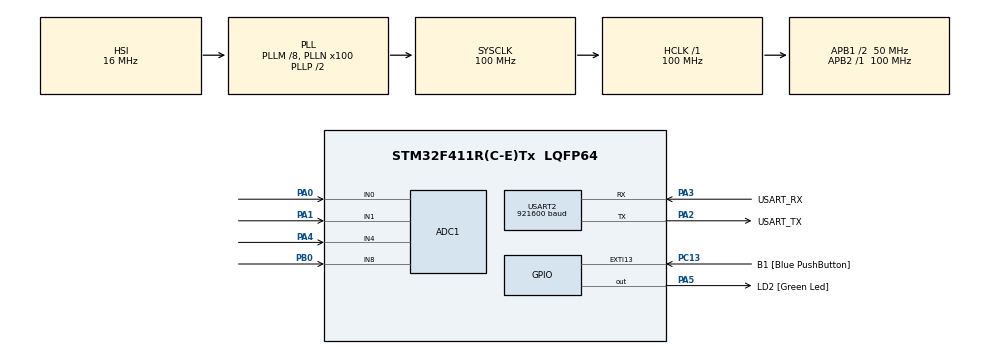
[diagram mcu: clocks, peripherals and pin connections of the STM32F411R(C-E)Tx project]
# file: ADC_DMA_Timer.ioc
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ADC1.Channel-1\#ChannelRegularConversion=ADC_CHANNEL_0
ADC1.Channel-4\#ChannelRegularConversion=ADC_CHANNEL_1
ADC1.Channel-6\#ChannelRegularConversion=ADC_CHANNEL_4
ADC1.Channel-7\#ChannelRegularConversion=ADC_CHANNEL_8
ADC1.ContinuousConvMode=DISABLE
ADC1.DMAContinuousRequests=ENABLE
ADC1.DiscontinuousConvMode=DISABLE
ADC1.EOCSelection=ADC_EOC_SEQ_CONV
ADC1.ExternalTrigConv=ADC_EXTERNALTRIGCONV_T2_TRGO
ADC1.NbrOfConversion=4
ADC1.NbrOfConversionFlag=1
ADC1.Rank-1\#ChannelRegularConversion=1
ADC1.Rank-4\#ChannelRegularConversion=2
ADC1.Rank-6\#ChannelRegularConversion=3
ADC1.Rank-7\#ChannelRegularConversion=4
ADC1.SamplingTime-1\#ChannelRegularConversion=ADC_SAMPLETIME_28CYCLES
ADC1.SamplingTime-4\#ChannelRegularConversion=ADC_SAMPLETIME_28CYCLES
ADC1.SamplingTime-6\#ChannelRegularConversion=ADC_SAMPLETIME_28CYCLES
ADC1.SamplingTime-7\#ChannelRegularConversion=ADC_SAMPLETIME_28CYCLES
ADC1.ScanConvMode=ENABLE
ADC1.master=1
Dma.ADC1.0.Direction=DMA_PERIPH_TO_MEMORY
Dma.ADC1.0.FIFOMode=DMA_FIFOMODE_DISABLE
Dma.ADC1.0.Instance=DMA2_Stream0
Dma.ADC1.0.MemDataAlignment=DMA_MDATAALIGN_HALFWORD
Dma.ADC1.0.MemInc=DMA_MINC_ENABLE
Dma.ADC1.0.Mode=DMA_CIRCULAR
Dma.ADC1.0.PeriphDataAlignment=DMA_PDATAALIGN_HALFWORD
Dma.ADC1.0.PeriphInc=DMA_PINC_DISABLE
Dma.ADC1.0.Priority=DMA_PRIORITY_VERY_HIGH
Dma.Request0=ADC1
Mcu.Family=STM32F4
Mcu.Name=STM32F411R(C-E)Tx
Mcu.Package=LQFP64
NVIC.DMA2_Stream0_IRQn=true\:0\:0\:false\:false\:true\:false\:true\:true
NVIC.PriorityGroup=NVIC_PRIORITYGROUP_0
PA0-WKUP.Signal=ADCx_IN0
PA1.Signal=ADCx_IN1
PA13.GPIO_Label=TMS
PA13.Mode=Serial_Wire
PA13.Signal=SYS_JTMS-SWDIO
PA14.GPIO_Label=TCK
PA14.Mode=Serial_Wire
PA14.Signal=SYS_JTCK-SWCLK
PA2.GPIO_Label=USART_TX
PA2.Mode=Asynchronous
PA2.Signal=USART2_TX
PA3.GPIO_Label=USART_RX
PA3.Mode=Asynchronous
PA3.Signal=USART2_RX
PA4.Signal=ADCx_IN4
PA5.GPIO_Label=LD2 [Green Led]
PA5.Signal=GPIO_Output
PB0.Signal=ADCx_IN8
PB3.GPIO_Label=SWO
PB3.Signal=SYS_JTDO-SWO
PC13-ANTI_TAMP.GPIO_Label=B1 [Blue PushButton]
PC13-ANTI_TAMP.GPIO_ModeDefaultEXTI=GPIO_MODE_IT_FALLING
PC13-ANTI_TAMP.Signal=GPXTI13
PC14-OSC32_IN.Mode=LSE-External-Oscillator
PC14-OSC32_IN.Signal=RCC_OSC32_IN
PC15-OSC32_OUT.Mode=LSE-External-Oscillator
PC15-OSC32_OUT.Signal=RCC_OSC32_OUT
PH0\ -\ OSC_IN.Mode=HSE-External-Clock-Source
PH0\ -\ OSC_IN.Signal=RCC_OSC_IN
PH1\ -\ OSC_OUT.Mode=HSE-External-Clock-Source
PH1\ -\ OSC_OUT.Signal=RCC_OSC_OUT
ProjectManager.HeapSize=0x200
ProjectManager.StackSize=0x400
ProjectManager.TargetToolchain=STM32CubeIDE
RCC.48MHZClocksFreq_Value=50000000
RCC.AHBFreq_Value=100000000
RCC.APB1CLKDivider=RCC_HCLK_DIV2
RCC.APB1Freq_Value=50000000
RCC.APB1TimFreq_Value=100000000
RCC.APB2Freq_Value=100000000
RCC.APB2TimFreq_Value=100000000
RCC.CortexFreq_Value=100000000
RCC.FLatency-AdvancedSettings=FLASH_LATENCY_3
RCC.HCLKFreq_Value=100000000
RCC.HSE_VALUE=8000000
RCC.HSI_VALUE=16000000
RCC.PLLM=8
RCC.PLLN=100
RCC.SYSCLKFreq_VALUE=100000000
RCC.SYSCLKSource=RCC_SYSCLKSOURCE_PLLCLK
RCC.VCOOutputFreq_Value=200000000
SH.ADCx_IN0.0=ADC1_IN0,IN0
SH.ADCx_IN1.0=ADC1_IN1,IN1
SH.ADCx_IN4.0=ADC1_IN4,IN4
SH.ADCx_IN8.0=ADC1_IN8,IN8
TIM2.Period=781-1
TIM2.TIM_MasterOutputTrigger=TIM_TRGO_UPDATE
USART2.BaudRate=921600
USART2.VirtualMode=VM_ASYNC
VP_TIM2_VS_ClockSourceINT.Mode=Internal
board=NUCLEO-F411RE

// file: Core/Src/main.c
/* USER CODE BEGIN Header */
/**
  ******************************************************************************
  * @file           : main.c
  * @brief          : Main program body
  ******************************************************************************
  * @attention
  *
  * Copyright (c) 2023 STMicroelectronics.
  * All rights reserved.
  *
  * This software is licensed under terms that can be found in the LICENSE file
  * in the root directory of this software component.
  * If no LICENSE file comes with this software, it is provided AS-IS.
  *
  ******************************************************************************
  */
/* USER CODE END Header */
#include "main.h"

/* USER CODE BEGIN Includes */
#define LED_ON()   HAL_GPIO_WritePin(GPIOB, GPIO_PIN_0, GPIO_PIN_RESET)
#define LED_OFF()  HAL_GPIO_WritePin(GPIOB, GPIO_PIN_0, GPIO_PIN_SET)
#include <stdio.h>
#define ADC_BUFLEN 3
uint16_t adcBuf[ADC_BUFLEN];   //For ADC samples.
#define NUMBER_ADC_CHANNEL 4
#define NUMBER_ADC_CHANNEL_AVERAGE_PER_CHANNEL 64

uint16_t ADC_DMA_BUFF[NUMBER_ADC_CHANNEL * NUMBER_ADC_CHANNEL_AVERAGE_PER_CHANNEL]={0};
uint8_t ADC_FLAG;
#define TRUE 1
#define FALSE 0
/* USER CODE END Includes */

ADC_HandleTypeDef hadc1;
DMA_HandleTypeDef hdma_adc1;

TIM_HandleTypeDef htim2;

UART_HandleTypeDef huart2;

void SystemClock_Config(void);
static void MX_GPIO_Init(void);
static void MX_DMA_Init(void);
static void MX_USART2_UART_Init(void);
static void MX_ADC1_Init(void);
static void MX_TIM2_Init(void);

/* USER CODE BEGIN 0 */
uint16_t ADC_DMA_AVERAGE(int channel)
{
	uint32_t adc_sum;
	int i;

	adc_sum = 0;
	if(channel < NUMBER_ADC_CHANNEL )
	{
		for(i=0; i<NUMBER_ADC_CHANNEL_AVERAGE_PER_CHANNEL; i++)
			adc_sum += ADC_DMA_BUFF[channel+i*NUMBER_ADC_CHANNEL];
	}
	else
		return 1;

	return adc_sum/8;
}
/* USER CODE END 0 */

int main(void)
{
  /* USER CODE BEGIN 1 */
  int i;
  char msgbuf[128];
  int uart_buf_len;
  ADC_FLAG=FALSE;
  /* USER CODE END 1 */

  /* MCU Configuration--------------------------------------------------------*/

  /* Reset of all peripherals, Initializes the Flash interface and the Systick. */
  HAL_Init();

  /* Configure the system clock */
  SystemClock_Config();

  /* Initialize all configured peripherals */
  MX_GPIO_Init();
  MX_DMA_Init();
  MX_USART2_UART_Init();
  MX_ADC1_Init();
  MX_TIM2_Init();
  /* USER CODE BEGIN 2 */
  // Say something
  uart_buf_len = sprintf(msgbuf, "Starting device.\r\n");
  HAL_UART_Transmit(&huart2, (uint8_t *)msgbuf, uart_buf_len, 100);
  HAL_Delay(500);
  // Start timer
  HAL_TIM_Base_Start(&htim2);
//  HAL_ADC_Start_DMA(&hadc1, (uint32_t *)&adcBuf[0], ADC_BUFLEN);
  HAL_ADC_Start_DMA(&hadc1, (uint32_t *)&ADC_DMA_BUFF[0], NUMBER_ADC_CHANNEL * NUMBER_ADC_CHANNEL_AVERAGE_PER_CHANNEL);
  /* USER CODE END 2 */

  /* Infinite loop */
  /* USER CODE BEGIN WHILE */
  while (1)
  {
	if (ADC_FLAG==TRUE){
		ADC_FLAG=FALSE;
		++i;
		if(i>2000) i=0;
//		uart_buf_len = sprintf(msgbuf, "%d,%d,%d,%d\r\n", i, (int)adcBuf[0],(int)adcBuf[1],(int)adcBuf[2]);
		uart_buf_len = sprintf(msgbuf, "%d,%d,%d,%d,%d\r\n", i, ADC_DMA_AVERAGE(0),ADC_DMA_AVERAGE(1),ADC_DMA_AVERAGE(2),ADC_DMA_AVERAGE(3));

		HAL_UART_Transmit(&huart2, (uint8_t *)msgbuf, uart_buf_len, 100);

	}
    /* USER CODE END WHILE */

  }
}

void SystemClock_Config(void)
{
  RCC_OscInitTypeDef RCC_OscInitStruct = {0};
  RCC_ClkInitTypeDef RCC_ClkInitStruct = {0};

  /** Configure the main internal regulator output voltage
  */
  __HAL_RCC_PWR_CLK_ENABLE();
  __HAL_PWR_VOLTAGESCALING_CONFIG(PWR_REGULATOR_VOLTAGE_SCALE1);

  /** Initializes the RCC Oscillators according to the specified parameters
  * in the RCC_OscInitTypeDef structure.
  */
  RCC_OscInitStruct.OscillatorType = RCC_OSCILLATORTYPE_HSI;
  RCC_OscInitStruct.HSIState = RCC_HSI_ON;
  RCC_OscInitStruct.HSICalibrationValue = RCC_HSICALIBRATION_DEFAULT;
  RCC_OscInitStruct.PLL.PLLState = RCC_PLL_ON;
  RCC_OscInitStruct.PLL.PLLSource = RCC_PLLSOURCE_HSI;
  RCC_OscInitStruct.PLL.PLLM = 8;
  RCC_OscInitStruct.PLL.PLLN = 100;
  RCC_OscInitStruct.PLL.PLLP = RCC_PLLP_DIV2;
  RCC_OscInitStruct.PLL.PLLQ = 4;
  if (HAL_RCC_OscConfig(&RCC_OscInitStruct) != HAL_OK)
  {
    Error_Handler();
  }

  /** Initializes the CPU, AHB and APB buses clocks
  */
  RCC_ClkInitStruct.ClockType = RCC_CLOCKTYPE_HCLK|RCC_CLOCKTYPE_SYSCLK
                              |RCC_CLOCKTYPE_PCLK1|RCC_CLOCKTYPE_PCLK2;
  RCC_ClkInitStruct.SYSCLKSource = RCC_SYSCLKSOURCE_PLLCLK;
  RCC_ClkInitStruct.AHBCLKDivider = RCC_SYSCLK_DIV1;
  RCC_ClkInitStruct.APB1CLKDivider = RCC_HCLK_DIV2;
  RCC_ClkInitStruct.APB2CLKDivider = RCC_HCLK_DIV1;

  if (HAL_RCC_ClockConfig(&RCC_ClkInitStruct, FLASH_LATENCY_3) != HAL_OK)
  {
    Error_Handler();
  }
}

static void MX_ADC1_Init(void)
{

  ADC_ChannelConfTypeDef sConfig = {0};

  /** Configure the global features of the ADC (Clock, Resolution, Data Alignment and number of conversion)
  */
  hadc1.Instance = ADC1;
  hadc1.Init.ClockPrescaler = ADC_CLOCK_SYNC_PCLK_DIV4;
  hadc1.Init.Resolution = ADC_RESOLUTION_12B;
  hadc1.Init.ScanConvMode = ENABLE;
  hadc1.Init.ContinuousConvMode = DISABLE;
  hadc1.Init.DiscontinuousConvMode = DISABLE;
  hadc1.Init.ExternalTrigConvEdge = ADC_EXTERNALTRIGCONVEDGE_RISING;
  hadc1.Init.ExternalTrigConv = ADC_EXTERNALTRIGCONV_T2_TRGO;
  hadc1.Init.DataAlign = ADC_DATAALIGN_RIGHT;
  hadc1.Init.NbrOfConversion = 4;
  hadc1.Init.DMAContinuousRequests = ENABLE;
  hadc1.Init.EOCSelection = ADC_EOC_SEQ_CONV;
  if (HAL_ADC_Init(&hadc1) != HAL_OK)
  {
    Error_Handler();
  }

  /** Configure for the selected ADC regular channel its corresponding rank in the sequencer and its sample time.
  */
  sConfig.Channel = ADC_CHANNEL_0;
  sConfig.Rank = 1;
  sConfig.SamplingTime = ADC_SAMPLETIME_28CYCLES;
  if (HAL_ADC_ConfigChannel(&hadc1, &sConfig) != HAL_OK)
  {
    Error_Handler();
  }

  /** Configure for the selected ADC regular channel its corresponding rank in the sequencer and its sample time.
  */
  sConfig.Channel = ADC_CHANNEL_1;
  sConfig.Rank = 2;
  if (HAL_ADC_ConfigChannel(&hadc1, &sConfig) != HAL_OK)
  {
    Error_Handler();
  }

  /** Configure for the selected ADC regular channel its corresponding rank in the sequencer and its sample time.
  */
  sConfig.Channel = ADC_CHANNEL_4;
  sConfig.Rank = 3;
  if (HAL_ADC_ConfigChannel(&hadc1, &sConfig) != HAL_OK)
  {
    Error_Handler();
  }

  /** Configure for the selected ADC regular channel its corresponding rank in the sequencer and its sample time.
  */
  sConfig.Channel = ADC_CHANNEL_8;
  sConfig.Rank = 4;
  if (HAL_ADC_ConfigChannel(&hadc1, &sConfig) != HAL_OK)
  {
    Error_Handler();
  }

}

static void MX_TIM2_Init(void)
{

  TIM_ClockConfigTypeDef sClockSourceConfig = {0};
  TIM_MasterConfigTypeDef sMasterConfig = {0};

  htim2.Instance = TIM2;
  htim2.Init.Prescaler = 0;
  htim2.Init.CounterMode = TIM_COUNTERMODE_UP;
  htim2.Init.Period = 781-1;
  htim2.Init.ClockDivision = TIM_CLOCKDIVISION_DIV1;
  htim2.Init.AutoReloadPreload = TIM_AUTORELOAD_PRELOAD_DISABLE;
  if (HAL_TIM_Base_Init(&htim2) != HAL_OK)
  {
    Error_Handler();
  }
  sClockSourceConfig.ClockSource = TIM_CLOCKSOURCE_INTERNAL;
  if (HAL_TIM_ConfigClockSource(&htim2, &sClockSourceConfig) != HAL_OK)
  {
    Error_Handler();
  }
  sMasterConfig.MasterOutputTrigger = TIM_TRGO_UPDATE;
  sMasterConfig.MasterSlaveMode = TIM_MASTERSLAVEMODE_DISABLE;
  if (HAL_TIMEx_MasterConfigSynchronization(&htim2, &sMasterConfig) != HAL_OK)
  {
    Error_Handler();
  }

}

static void MX_USART2_UART_Init(void)
{

  huart2.Instance = USART2;
  huart2.Init.BaudRate = 921600;
  huart2.Init.WordLength = UART_WORDLENGTH_8B;
  huart2.Init.StopBits = UART_STOPBITS_1;
  huart2.Init.Parity = UART_PARITY_NONE;
  huart2.Init.Mode = UART_MODE_TX_RX;
  huart2.Init.HwFlowCtl = UART_HWCONTROL_NONE;
  huart2.Init.OverSampling = UART_OVERSAMPLING_16;
  if (HAL_UART_Init(&huart2) != HAL_OK)
  {
    Error_Handler();
  }

}

static void MX_DMA_Init(void)
{

  /* DMA controller clock enable */
  __HAL_RCC_DMA2_CLK_ENABLE();

  /* DMA interrupt init */
  /* DMA2_Stream0_IRQn interrupt configuration */
  HAL_NVIC_SetPriority(DMA2_Stream0_IRQn, 0, 0);
  HAL_NVIC_EnableIRQ(DMA2_Stream0_IRQn);

}

static void MX_GPIO_Init(void)
{
  GPIO_InitTypeDef GPIO_InitStruct = {0};

  /* GPIO Ports Clock Enable */
  __HAL_RCC_GPIOC_CLK_ENABLE();
  __HAL_RCC_GPIOH_CLK_ENABLE();
  __HAL_RCC_GPIOA_CLK_ENABLE();
  __HAL_RCC_GPIOB_CLK_ENABLE();

  /*Configure GPIO pin Output Level */
  HAL_GPIO_WritePin(LD2_GPIO_Port, LD2_Pin, GPIO_PIN_RESET);

  /*Configure GPIO pin : B1_Pin */
  GPIO_InitStruct.Pin = B1_Pin;
  GPIO_InitStruct.Mode = GPIO_MODE_IT_FALLING;
  GPIO_InitStruct.Pull = GPIO_NOPULL;
  HAL_GPIO_Init(B1_GPIO_Port, &GPIO_InitStruct);

  /*Configure GPIO pin : LD2_Pin */
  GPIO_InitStruct.Pin = LD2_Pin;
  GPIO_InitStruct.Mode = GPIO_MODE_OUTPUT_PP;
  GPIO_InitStruct.Pull = GPIO_NOPULL;
  GPIO_InitStruct.Speed = GPIO_SPEED_FREQ_LOW;
  HAL_GPIO_Init(LD2_GPIO_Port, &GPIO_InitStruct);

}

/* USER CODE BEGIN 4 */
void HAL_ADC_ConvCpltCallback(ADC_HandleTypeDef* hadc){

	HAL_GPIO_TogglePin(GPIOA, GPIO_PIN_5);
	ADC_FLAG=TRUE;
}
/* USER CODE END 4 */

void Error_Handler(void)
{
  __disable_irq();
  while (1)
  {
  }
}
